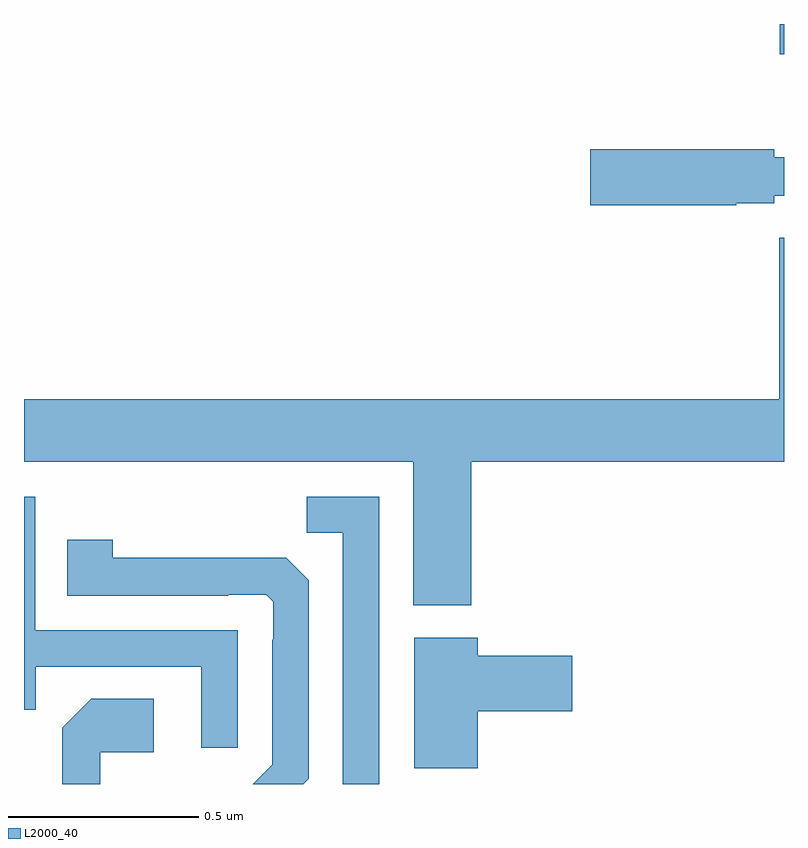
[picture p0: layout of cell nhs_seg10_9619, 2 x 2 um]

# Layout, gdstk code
import gdstk
lib = gdstk.Library(unit=1e-6, precision=1e-09)
def R(c, l, rs):  # rectangles x0, y0, x1, y1
    for r in rs: c.add(gdstk.rectangle(r[:2], r[2:], *l))
def P(c, l, *ps):  # polygons
    for p in ps: c.add(gdstk.Polygon(p, *l))
L2000_40 = (2000, 40)

nhs_seg10_9619 = lib.new_cell('nhs_seg10_9619')
R(nhs_seg10_9619, L2000_40, [(233.989,1269.42,234,1269.5)])
P(nhs_seg10_9619, L2000_40, [(233.874,1269.028),(233.974,1269.028),(233.974,1269.048),(234,1269.048),(234,1269.149),(233.974,1269.149),(233.974,1269.17),(233.49,1269.17),(233.49,1269.023),(233.874,1269.023)],
  [(233.177,1268.348),(234,1268.348),(234,1268.938),(233.987,1268.938),(233.987,1268.512),(232,1268.512),(232,1268.348),(233.024,1268.348),(233.024,1267.97),(233.177,1267.97)],
  [(232.935,1268.256),(232.744,1268.256),(232.744,1268.161),(232.839,1268.161),(232.839,1267.5),(232.935,1267.5)],
  [(232.563,1267.905),(232.029,1267.905),(232.029,1268.256),(232,1268.256),(232,1267.696),(232.031,1267.696),(232.031,1267.809),(232.467,1267.809),(232.467,1267.596),(232.563,1267.596)],
  [(232.749,1267.514),(232.749,1268.036),(232.69,1268.095),(232.589,1268.095),(232.589,1268.096),(232.233,1268.096),(232.233,1268.143),(232.114,1268.143),(232.114,1267.995),(232.538,1267.995),(232.538,1267.998),(232.638,1267.998),(232.656,1267.98),(232.656,1267.88),(232.653,1267.88),(232.653,1267.551),(232.602,1267.5),(232.735,1267.5)],
  [(233.194,1267.691),(233.443,1267.691),(233.443,1267.838),(233.194,1267.838),(233.194,1267.885),(233.027,1267.885),(233.027,1267.542),(233.194,1267.542)],
  [(232.2,1267.584),(232.342,1267.584),(232.342,1267.724),(232.177,1267.724),(232.101,1267.648),(232.101,1267.5),(232.2,1267.5)])

lib.write_gds('nhs_seg10_9619.gds')
